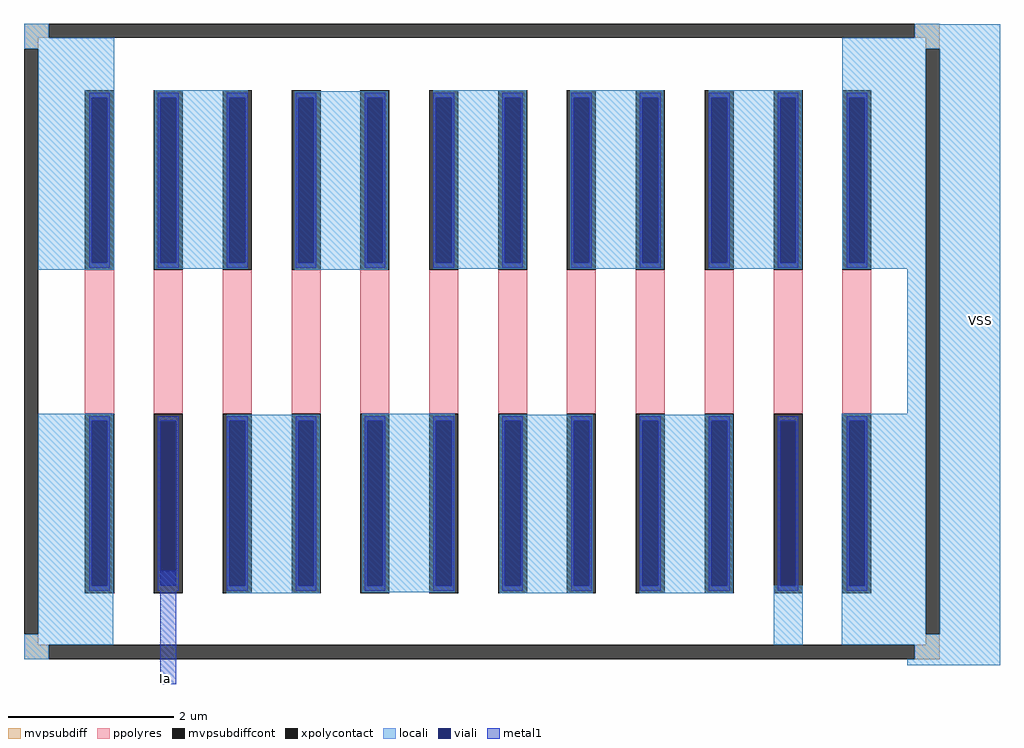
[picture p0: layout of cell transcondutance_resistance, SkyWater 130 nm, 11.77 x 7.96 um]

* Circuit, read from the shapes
.subckt transcondutance_resistance VSS Ia
XR1 VSS VSS VSS sky130_fd_pr__res_high_po w=0.35 l=1.74 m=2
XR2 n1 Ia VSS sky130_fd_pr__res_high_po w=0.35 l=1.74
XR3 n1 n2 VSS sky130_fd_pr__res_high_po w=0.35 l=1.74
XR4 n3 n2 VSS sky130_fd_pr__res_high_po w=0.35 l=1.74
XR5 n3 n4 VSS sky130_fd_pr__res_high_po w=0.35 l=1.74
XR6 n5 n4 VSS sky130_fd_pr__res_high_po w=0.35 l=1.74
XR7 n5 n6 VSS sky130_fd_pr__res_high_po w=0.35 l=1.74
XR8 n7 n6 VSS sky130_fd_pr__res_high_po w=0.35 l=1.74
XR9 n7 n8 VSS sky130_fd_pr__res_high_po w=0.35 l=1.74
XR10 n9 n8 VSS sky130_fd_pr__res_high_po w=0.35 l=1.74
XR11 n9 VSS VSS sky130_fd_pr__res_high_po w=0.35 l=1.74
.ends

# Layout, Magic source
magic
tech sky130A
magscale 1 2
<< mvpsubdiff >>
rect -127 1347 -67 1381
rect 2021 1347 2081 1381
rect -127 1321 -93 1347
rect -127 -117 -93 -91
rect 2047 1321 2081 1347
rect 2047 -117 2081 -91
rect -127 -151 -67 -117
rect 2021 -151 2081 -117
<< mvpsubdiffcont >>
rect -67 1347 2021 1381
rect -127 -91 -93 1321
rect 2047 -91 2081 1321
rect -67 -151 2021 -117
<< locali >>
rect -127 1347 -67 1381
rect 2021 1380 2081 1381
rect 2021 1347 2226 1380
rect -127 1321 90 1347
rect -93 788 90 1321
rect 1846 1321 2226 1347
rect 188 790 412 1220
rect 526 788 750 1218
rect 860 790 1084 1220
rect 1190 790 1414 1220
rect 1524 790 1748 1220
rect 1846 790 2047 1321
rect 2002 440 2047 790
rect -93 -91 88 440
rect 362 8 586 438
rect 688 10 912 440
rect 1020 8 1244 438
rect 1358 8 1582 438
rect -127 -117 88 -91
rect 1680 -117 1750 26
rect 1844 -91 2047 440
rect 2081 -91 2226 1321
rect 1844 -117 2226 -91
rect -127 -151 -67 -117
rect 2021 -151 2226 -117
rect 2002 -166 2226 -151
<< metal1 >>
rect 202 -212 240 62
use sky130_fd_pr__res_high_po_0p35_NX9RRP  sky130_fd_pr__res_high_po_0p35_NX9RRP_0
transform 1 0 968 0 1 614
box -948 -606 948 606
<< labels >>
flabel locali 2158 612 2198 720 0 FreeSans 1600 0 0 0 VSS
port 1 nsew
flabel metal1 204 -208 226 -188 0 FreeSans 1600 0 0 0 Ia
port 3 nsew
<< end >>

# cell sky130_fd_pr__res_high_po_0p35_NX9RRP: kit device sky130_fd_pr__res_high_po_0p35, w 0.350 l 1.9 m 1 nx 12 wmin 0.350 lmin 0.50 class resistor rho 319.8 val 2.849k dummy 0 dw 0.0 term 194.82 sterm 0.0 caplen 0 guard 0 glc 1 grc 1 gtc 1 gbc 1 compatible {sky130_fd_pr__res_high_po_0p35 sky130_fd_pr__res_high_po_0p69 sky130_fd_pr__res_high_po_1p41 sky130_fd_pr__res_high_po_2p85 sky130_fd_pr__res_high_po_5p73} snake 0 full_metal 1 wmax 0.350 vias 1 n_guard 0 hv_guard 0 viagb 0 viagt 0 viagl 0 viagr 0
